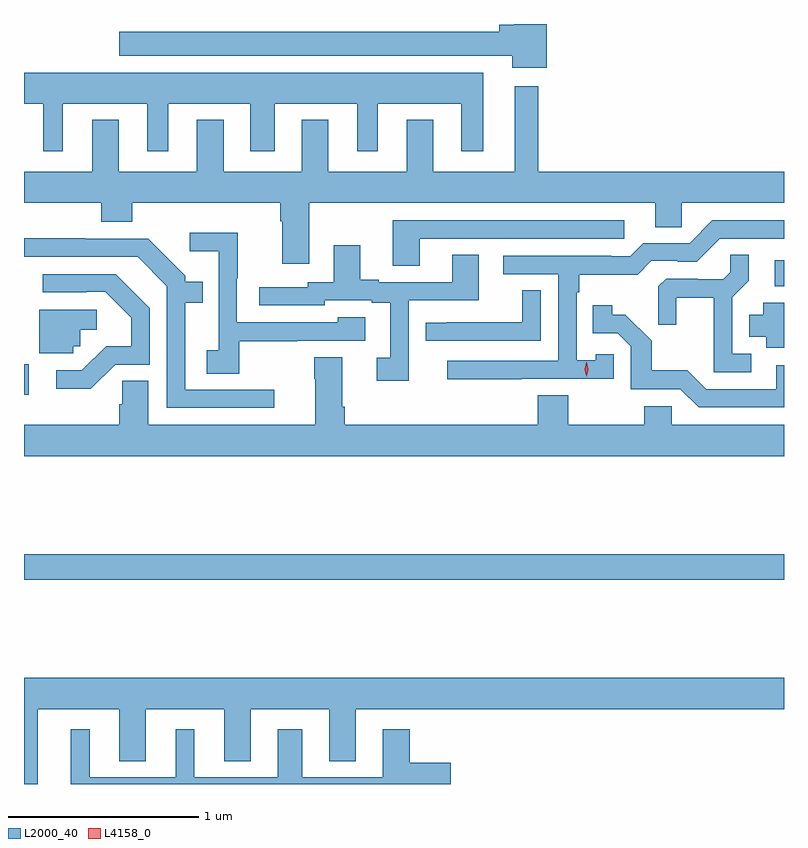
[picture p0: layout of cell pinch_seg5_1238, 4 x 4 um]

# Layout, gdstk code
import gdstk
lib = gdstk.Library(unit=1e-6, precision=1e-09)
def R(c, l, rs):  # rectangles x0, y0, x1, y1
    for r in rs: c.add(gdstk.rectangle(r[:2], r[2:], *l))
def P(c, l, *ps):  # polygons
    for p in ps: c.add(gdstk.Polygon(p, *l))
L2000_40 = (2000, 40)
L4158_0 = (4158, 0)

pinch_seg5_1238 = lib.new_cell('pinch_seg5_1238')
R(pinch_seg5_1238, L2000_40, [(434.047,869.428,438.047,869.564), (434.047,870.402,434.071,870.562), (437.997,870.975,438.047,871.111)])
P(pinch_seg5_1238, L2000_40, [(436.799,872.354),(436.628,872.354),(436.628,872.35),(436.547,872.35),(436.547,872.314),(434.547,872.314),(434.547,872.186),(436.616,872.186),(436.616,872.124),(436.799,872.124)],
  [(434.251,871.934),(434.696,871.934),(434.696,871.683),(434.806,871.683),(434.806,871.934),(435.239,871.934),(435.239,871.683),(435.367,871.683),(435.367,871.934),(435.8,871.934),(435.8,871.683),(435.91,871.683),(435.91,871.934),(436.349,871.934),(436.349,871.683),(436.465,871.683),(436.465,872.098),(434.047,872.098),(434.047,871.934),(434.147,871.934),(434.147,871.683),(434.251,871.683)],
  [(437.369,871.285),(437.508,871.285),(437.508,871.412),(438.047,871.412),(438.047,871.576),(436.753,871.576),(436.753,872.026),(436.631,872.026),(436.631,871.576),(436.201,871.576),(436.201,871.849),(436.061,871.849),(436.061,871.576),(435.649,871.576),(435.649,871.849),(435.509,871.849),(435.509,871.576),(435.097,871.576),(435.097,871.849),(434.957,871.849),(434.957,871.576),(434.545,871.576),(434.545,871.849),(434.405,871.849),(434.405,871.576),(434.047,871.576),(434.047,871.412),(434.453,871.412),(434.453,871.313),(434.618,871.313),(434.618,871.412),(435.395,871.412),(435.395,871.316),(435.407,871.316),(435.407,871.092),(435.547,871.092),(435.547,871.412),(437.369,871.412)],
  [(436.667,870.486),(437.151,870.486),(437.151,870.615),(437.055,870.615),(437.055,870.583),(436.956,870.583),(436.956,870.941),(436.969,870.941),(436.969,871.034),(437.276,871.034),(437.349,871.107),(437.488,871.107),(437.488,871.104),(437.589,871.104),(437.709,871.224),(438.047,871.224),(438.047,871.32),(437.67,871.32),(437.55,871.2),(437.307,871.2),(437.238,871.131),(437.138,871.131),(437.138,871.134),(436.569,871.134),(436.569,871.038),(436.86,871.038),(436.86,870.582),(436.275,870.582),(436.275,870.484),(436.667,870.484)],
  [(436.129,871.224),(437.206,871.224),(437.206,871.32),(435.989,871.32),(435.989,871.081),(436.129,871.081)],
  [(435.181,870.685),(435.485,870.685),(435.485,870.687),(435.844,870.687),(435.844,870.811),(435.699,870.811),(435.699,870.783),(435.168,870.783),(435.168,871.016),(435.171,871.016),(435.171,871.255),(434.919,871.255),(434.919,871.157),(435.072,871.157),(435.072,870.636),(435.009,870.636),(435.009,870.514),(435.181,870.514)],
  [(435.364,870.429),(434.896,870.429),(434.896,870.888),(434.987,870.888),(434.987,870.997),(434.895,870.997),(434.895,871.029),(434.7,871.224),(434.369,871.224),(434.369,871.226),(434.047,871.226),(434.047,871.128),(434.646,871.128),(434.799,870.975),(434.799,870.333),(435.364,870.333)],
  [(436.071,870.9),(436.441,870.9),(436.441,871.139),(436.301,871.139),(436.301,870.996),(435.913,870.996),(435.913,871.009),(435.817,871.009),(435.817,871.189),(435.677,871.189),(435.677,870.996),(435.54,870.996),(435.54,870.969),(435.285,870.969),(435.285,870.873),(435.63,870.873),(435.63,870.9),(435.878,870.9),(435.878,870.888),(435.974,870.888),(435.974,870.597),(435.903,870.597),(435.903,870.477),(436.071,870.477)],
  [(437.875,870.618),(437.775,870.618),(437.775,870.917),(437.861,871.003),(437.861,871.139),(437.763,871.139),(437.763,871.048),(437.726,871.011),(437.592,871.011),(437.592,871.014),(437.427,871.014),(437.386,870.973),(437.386,870.771),(437.48,870.771),(437.48,870.914),(437.678,870.914),(437.678,870.522),(437.875,870.522)],
  [(434.526,870.561),(434.709,870.561),(434.709,870.859),(434.53,871.038),(434.145,871.038),(434.145,870.942),(434.375,870.942),(434.375,870.945),(434.475,870.945),(434.612,870.808),(434.612,870.658),(434.479,870.658),(434.352,870.531),(434.217,870.531),(434.217,870.434),(434.398,870.434)],
  [(436.767,870.953),(436.669,870.953),(436.669,870.783),(436.273,870.783),(436.273,870.782),(436.161,870.782),(436.161,870.687),(436.767,870.687)],
  [(438.047,870.886),(437.939,870.886),(437.939,870.823),(437.864,870.823),(437.864,870.707),(437.954,870.707),(437.954,870.65),(438.047,870.65)],
  [(438.047,870.558),(438.005,870.558),(438.005,870.432),(437.637,870.432),(437.539,870.531),(437.35,870.531),(437.35,870.686),(437.212,870.824),(437.142,870.824),(437.142,870.874),(437.041,870.874),(437.041,870.726),(437.172,870.726),(437.241,870.657),(437.241,870.432),(437.502,870.432),(437.598,870.336),(438.047,870.336)],
  [(434.307,870.657),(434.343,870.657),(434.343,870.746),(434.431,870.746),(434.431,870.849),(434.126,870.849),(434.126,870.621),(434.307,870.621)],
  [(438.047,870.244),(437.457,870.244),(437.457,870.342),(437.311,870.342),(437.311,870.244),(436.911,870.244),(436.911,870.401),(436.751,870.401),(436.751,870.244),(435.734,870.244),(435.734,870.34),(435.721,870.34),(435.721,870.601),(435.574,870.601),(435.574,870.488),(435.581,870.488),(435.581,870.244),(434.701,870.244),(434.701,870.476),(434.563,870.476),(434.563,870.354),(434.549,870.354),(434.549,870.244),(434.047,870.244),(434.047,870.08),(438.047,870.08)],
  [(434.119,868.748),(434.549,868.748),(434.549,868.475),(434.689,868.475),(434.689,868.748),(435.101,868.748),(435.101,868.475),(435.241,868.475),(435.241,868.748),(435.653,868.748),(435.653,868.475),(435.793,868.475),(435.793,868.748),(438.047,868.748),(438.047,868.912),(434.047,868.912),(434.047,868.354),(434.119,868.354)],
  [(436.294,868.465),(436.076,868.465),(436.076,868.642),(435.935,868.642),(435.935,868.39),(435.511,868.39),(435.511,868.642),(435.383,868.642),(435.383,868.39),(434.944,868.39),(434.944,868.642),(434.846,868.642),(434.846,868.39),(434.392,868.39),(434.392,868.642),(434.294,868.642),(434.294,868.354),(436.294,868.354)])
P(pinch_seg5_1238, L4158_0, [(437.008,870.501),(437.007,870.502),(436.998,870.537),(437.007,870.573),(437.008,870.573),(437.008,870.573),(437.018,870.537),(437.008,870.502)])

lib.write_gds('pinch_seg5_1238.gds')
